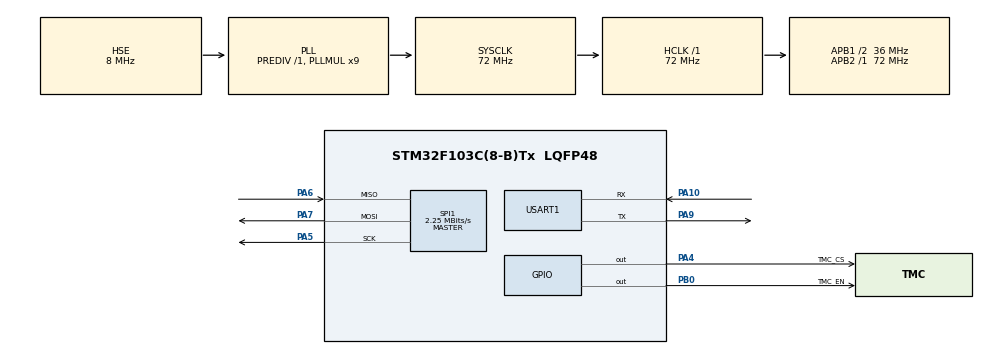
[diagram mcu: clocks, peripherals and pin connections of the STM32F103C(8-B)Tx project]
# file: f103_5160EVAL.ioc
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Mcu.Family=STM32F1
Mcu.Name=STM32F103C(8-B)Tx
Mcu.Package=LQFP48
NVIC.PriorityGroup=NVIC_PRIORITYGROUP_4
PA10.Mode=Asynchronous
PA10.Signal=USART1_RX
PA13.Mode=Serial_Wire
PA13.Signal=SYS_JTMS-SWDIO
PA14.Mode=Serial_Wire
PA14.Signal=SYS_JTCK-SWCLK
PA4.GPIO_Label=TMC_CS
PA4.Signal=GPIO_Output
PA5.Mode=Full_Duplex_Master
PA5.Signal=SPI1_SCK
PA6.Mode=Full_Duplex_Master
PA6.Signal=SPI1_MISO
PA7.Mode=Full_Duplex_Master
PA7.Signal=SPI1_MOSI
PA9.Mode=Asynchronous
PA9.Signal=USART1_TX
PB0.GPIO_Label=TMC_EN
PB0.Signal=GPIO_Output
PD0-OSC_IN.Mode=HSE-External-Oscillator
PD0-OSC_IN.Signal=RCC_OSC_IN
PD1-OSC_OUT.Mode=HSE-External-Oscillator
PD1-OSC_OUT.Signal=RCC_OSC_OUT
ProjectManager.HeapSize=0x200
ProjectManager.StackSize=0x400
ProjectManager.TargetToolchain=STM32CubeIDE
RCC.AHBFreq_Value=72000000
RCC.APB1CLKDivider=RCC_HCLK_DIV2
RCC.APB1Freq_Value=36000000
RCC.APB1TimFreq_Value=72000000
RCC.APB2Freq_Value=72000000
RCC.APB2TimFreq_Value=72000000
RCC.HCLKFreq_Value=72000000
RCC.PLLMUL=RCC_PLL_MUL9
RCC.PLLSourceVirtual=RCC_PLLSOURCE_HSE
RCC.SYSCLKFreq_VALUE=72000000
RCC.SYSCLKSource=RCC_SYSCLKSOURCE_PLLCLK
RCC.USBFreq_Value=72000000
SPI1.BaudRatePrescaler=SPI_BAUDRATEPRESCALER_32
SPI1.CLKPhase=SPI_PHASE_2EDGE
SPI1.CLKPolarity=SPI_POLARITY_HIGH
SPI1.CalculateBaudRate=2.25 MBits/s
SPI1.Direction=SPI_DIRECTION_2LINES
SPI1.Mode=SPI_MODE_MASTER
SPI1.VirtualType=VM_MASTER
USART1.VirtualMode=VM_ASYNC
board=custom

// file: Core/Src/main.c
/* USER CODE BEGIN Header */
/**
 ******************************************************************************
 * @file           : main.c
 * @brief          : Main program body (Updated for TMC5160 Velocity Mode)
 ******************************************************************************
 */
/* USER CODE END Header */
#include "main.h"

/* USER CODE BEGIN Includes */
#include <stdint.h>
#include <stdarg.h>
#include <stdio.h>
#include <string.h>
#include <math.h>
#include <stdlib.h>
/* USER CODE END Includes */

/* USER CODE BEGIN PD */

// ---- PIN DEFINES (Based on your wiring) ----
#define TMC_CS_Pin      GPIO_PIN_4
#define TMC_CS_Port     GPIOA

#define TMC_EN_Pin      GPIO_PIN_0
#define TMC_EN_Port     GPIOB

#define TMC5160_FCLK 12000000.0f // Internal Clock Frequency
/* USER CODE END PD */

/* USER CODE BEGIN PM */
#define TMC_CS_LOW()    HAL_GPIO_WritePin(TMC_CS_Port, TMC_CS_Pin, GPIO_PIN_RESET)
#define TMC_CS_HIGH()   HAL_GPIO_WritePin(TMC_CS_Port, TMC_CS_Pin, GPIO_PIN_SET)
/* USER CODE END PM */

SPI_HandleTypeDef hspi1;

UART_HandleTypeDef huart1;

void SystemClock_Config(void);
static void MX_GPIO_Init(void);
static void MX_SPI1_Init(void);
static void MX_USART1_UART_Init(void);
/* USER CODE BEGIN PFP */
void uart_printf(const char *fmt, ...);
void TMC5160_WriteReg(uint8_t address, uint32_t value);
uint32_t TMC5160_ReadReg(uint8_t address);

// เพิ่ม Prototypes ใหม่
void TMC5160_SetupMotion(void);
void TMC5160_Rotate(int32_t speed);
/* USER CODE END PFP */

/* USER CODE BEGIN 0 */
// ฟังก์ชันแปลง PPS -> VMAX Value
int32_t TMC5160_ConvertSpeed(float steps_per_sec) {
	// สูตร: (PPS * 2^24) / fCLK
	return (int32_t) ((steps_per_sec * 16777216.0f) / TMC5160_FCLK);
}

// อัปเดตฟังก์ชัน Rotate ให้รับค่า PPS ตรงๆ
void TMC5160_Rotate_PPS(float pps) {
	uint32_t vmax_val = (uint32_t) abs(TMC5160_ConvertSpeed(pps));

	if (pps >= 0) {
		TMC5160_WriteReg(0x20, 1); // RAMPMODE = Velocity Positive
	} else {
		TMC5160_WriteReg(0x20, 2); // RAMPMODE = Velocity Negative
	}

	TMC5160_WriteReg(0x27, vmax_val); // เขียนค่า VMAX ที่แปลงแล้ว
}

void TMC5160_PrintStatus(void) {
	// อ่าน GSTAT (0x01): ดูสถานะทั่วไป (Reset, Voltage, Driver Error)
	uint32_t gstat = TMC5160_ReadReg(0x01);

	// อ่าน DRV_STATUS (0x6F): ดูสถานะ Driver (Open Load, Short, Over Temp)
	uint32_t drv_status = TMC5160_ReadReg(0x6F);

	uart_printf("Status -> GSTAT: 0x%08X | DRV: 0x%08X\r\n", gstat, drv_status);

	if (gstat & 0x02)
		uart_printf("!! DRIVER ERROR DETECTED !!\r\n");
	if (gstat & 0x04)
		uart_printf("!! UNDER VOLTAGE !!\r\n");
	if (drv_status & 0x80000000)
		uart_printf("!! STANDSTILL !!\r\n");
}

// 1. ฟังก์ชันสั่งวิ่ง (High Speed, Normal Accel)
// speed: ความเร็วเป้าหมาย
// accel: อัตราเร่งตอนออกตัว (ใส่สัก 500-1000 ให้มีแรงออกตัว)
void TMC5160_Run(int32_t speed, uint32_t accel) {
	// ตั้งค่าอัตราเร่งสำหรับ "ขาไป"
	TMC5160_WriteReg(0x26, accel);

	// สั่งความเร็ว
	if (speed >= 0) {
		TMC5160_WriteReg(0x20, 1); // RAMPMODE +
		TMC5160_WriteReg(0x27, speed);
	} else {
		TMC5160_WriteReg(0x20, 2); // RAMPMODE -
		TMC5160_WriteReg(0x27, -speed);
	}
}

// 2. ฟังก์ชันสั่งหยุดนุ่ม (Soft Stop)
// decel: อัตราเบรก (ใส่ต่ำๆ เช่น 50 หรือ 100 เพื่อให้หยุดช้าๆ)
void TMC5160_SoftStop(uint32_t decel) {
	// *** ทีเด็ดอยู่ตรงนี้: เปลี่ยน AMAX ให้ต่ำก่อนสั่งหยุด ***
	TMC5160_WriteReg(0x26, decel);

	// สั่งหยุด (VMAX = 0)
	// Driver จะใช้ค่า AMAX ใหม่ (ที่ต่ำๆ) ในการคำนวณ Ramp ลง
	TMC5160_WriteReg(0x27, 0);
}
/* USER CODE END 0 */

int main(void)
{

  /* MCU Configuration--------------------------------------------------------*/

  /* Reset of all peripherals, Initializes the Flash interface and the Systick. */
  HAL_Init();

  /* Configure the system clock */
  SystemClock_Config();

  /* Initialize all configured peripherals */
  MX_GPIO_Init();
  MX_SPI1_Init();
  MX_USART1_UART_Init();
  /* USER CODE BEGIN 2 */

	// 1. Disable driver first (Safety)
	TMC_CS_HIGH();
	HAL_GPIO_WritePin(TMC_EN_Port, TMC_EN_Pin, GPIO_PIN_SET); // EN High = Disable
	HAL_Delay(100);

	uart_printf("\r\n--- TMC5160 SPI DEBUG START ---\r\n");

	// 2. Enable driver (EN = Low)
	HAL_GPIO_WritePin(TMC_EN_Port, TMC_EN_Pin, GPIO_PIN_RESET);
	HAL_Delay(50);

	// 3. Init GCONF (Global Config)
	// GCONF = 0x00000004 (EN_PWM_MODE = 1) -> แล้วแต่การใช้งาน ปกติใช้ 0 ก็ได้ถ้าไม่ได้ใช้ external step
	TMC5160_WriteReg(0x00, 0x00000000);
	HAL_Delay(10);

	// Readback Check
	uint32_t gconf = TMC5160_ReadReg(0x00);
	uart_printf("GCONF Readback = 0x%08lX\r\n", gconf);

	// 4. Setup Motion Parameters (Current, Chopper, Accel)
	TMC5160_SetupMotion();

	uart_printf("Ready to Run!\r\n");

  /* USER CODE END 2 */

  /* Infinite loop */
  /* USER CODE BEGIN WHILE */
	while (1) {
		// --- Step 1: วิ่งขวา (เร็ว!) ---
		if (TMC5160_ReadReg(0x00) != 0) { // เช็ค Reset (GCONF ต้องเป็น 0 ในโหมดนี้)
			// ถ้าอ่านได้ค่าไม่ใช่ 0 (หรือ Default 0x04 กลับมา) แปลว่า Reset
			// แต่เดี๋ยวก่อน... SetupMotion เราสั่งเขียน 0 ลงไป
			// ถ้า Reset มันจะเด้งกลับเป็นค่า Default โรงงาน
			// เอาเป็นว่าสั่ง Setup ทุกรอบเพื่อความชัวร์ดีกว่า
		}
		// "Hack" Setup ทุกรอบ กันเหนียวสุดๆ
		TMC5160_SetupMotion();

		uart_printf(">>> Turbo Right (Speed 50k)\r\n");
		// ลอง 50,000 ดูก่อน (เร็วกว่าตะกี้เยอะ)
		// Accel 2000 (ออกตัวไวขึ้น)
		TMC5160_Run(50000, 2000);

		HAL_Delay(4000);

		// --- Step 2: เบรก (นุ่มๆ) ---
		uart_printf("--- Soft Stop ---\r\n");
		TMC5160_SoftStop(1000);
		HAL_Delay(1000);

		// --- Step 3: วิ่งซ้าย (เร็ว!) ---
		TMC5160_SetupMotion(); // กันเหนียวอีกที

		uart_printf("<<< Turbo Left (Speed -50k)\r\n");
		TMC5160_Run(-50000, 2000);

		HAL_Delay(4000);

		// --- Step 4: เบรก ---
		uart_printf("--- Soft Stop ---\r\n");
		TMC5160_SoftStop(1000);
		HAL_Delay(1000);
    /* USER CODE END WHILE */

	}
}

void SystemClock_Config(void)
{
  RCC_OscInitTypeDef RCC_OscInitStruct = {0};
  RCC_ClkInitTypeDef RCC_ClkInitStruct = {0};

  /** Initializes the RCC Oscillators according to the specified parameters
  * in the RCC_OscInitTypeDef structure.
  */
  RCC_OscInitStruct.OscillatorType = RCC_OSCILLATORTYPE_HSE;
  RCC_OscInitStruct.HSEState = RCC_HSE_ON;
  RCC_OscInitStruct.HSEPredivValue = RCC_HSE_PREDIV_DIV1;
  RCC_OscInitStruct.HSIState = RCC_HSI_ON;
  RCC_OscInitStruct.PLL.PLLState = RCC_PLL_ON;
  RCC_OscInitStruct.PLL.PLLSource = RCC_PLLSOURCE_HSE;
  RCC_OscInitStruct.PLL.PLLMUL = RCC_PLL_MUL9;
  if (HAL_RCC_OscConfig(&RCC_OscInitStruct) != HAL_OK)
  {
    Error_Handler();
  }

  /** Initializes the CPU, AHB and APB buses clocks
  */
  RCC_ClkInitStruct.ClockType = RCC_CLOCKTYPE_HCLK|RCC_CLOCKTYPE_SYSCLK
                              |RCC_CLOCKTYPE_PCLK1|RCC_CLOCKTYPE_PCLK2;
  RCC_ClkInitStruct.SYSCLKSource = RCC_SYSCLKSOURCE_PLLCLK;
  RCC_ClkInitStruct.AHBCLKDivider = RCC_SYSCLK_DIV1;
  RCC_ClkInitStruct.APB1CLKDivider = RCC_HCLK_DIV2;
  RCC_ClkInitStruct.APB2CLKDivider = RCC_HCLK_DIV1;

  if (HAL_RCC_ClockConfig(&RCC_ClkInitStruct, FLASH_LATENCY_2) != HAL_OK)
  {
    Error_Handler();
  }
}

static void MX_SPI1_Init(void)
{

  /* SPI1 parameter configuration*/
  hspi1.Instance = SPI1;
  hspi1.Init.Mode = SPI_MODE_MASTER;
  hspi1.Init.Direction = SPI_DIRECTION_2LINES;
  hspi1.Init.DataSize = SPI_DATASIZE_8BIT;
  hspi1.Init.CLKPolarity = SPI_POLARITY_HIGH;
  hspi1.Init.CLKPhase = SPI_PHASE_2EDGE;
  hspi1.Init.NSS = SPI_NSS_SOFT;
  hspi1.Init.BaudRatePrescaler = SPI_BAUDRATEPRESCALER_32;
  hspi1.Init.FirstBit = SPI_FIRSTBIT_MSB;
  hspi1.Init.TIMode = SPI_TIMODE_DISABLE;
  hspi1.Init.CRCCalculation = SPI_CRCCALCULATION_DISABLE;
  hspi1.Init.CRCPolynomial = 10;
  if (HAL_SPI_Init(&hspi1) != HAL_OK)
  {
    Error_Handler();
  }

}

static void MX_USART1_UART_Init(void)
{

  huart1.Instance = USART1;
  huart1.Init.BaudRate = 115200;
  huart1.Init.WordLength = UART_WORDLENGTH_8B;
  huart1.Init.StopBits = UART_STOPBITS_1;
  huart1.Init.Parity = UART_PARITY_NONE;
  huart1.Init.Mode = UART_MODE_TX_RX;
  huart1.Init.HwFlowCtl = UART_HWCONTROL_NONE;
  huart1.Init.OverSampling = UART_OVERSAMPLING_16;
  if (HAL_UART_Init(&huart1) != HAL_OK)
  {
    Error_Handler();
  }

}

static void MX_GPIO_Init(void)
{
  GPIO_InitTypeDef GPIO_InitStruct = {0};

  /* GPIO Ports Clock Enable */
  __HAL_RCC_GPIOD_CLK_ENABLE();
  __HAL_RCC_GPIOA_CLK_ENABLE();
  __HAL_RCC_GPIOB_CLK_ENABLE();

  /*Configure GPIO pin Output Level */
  HAL_GPIO_WritePin(TMC_CS_GPIO_Port, TMC_CS_Pin, GPIO_PIN_RESET);

  /*Configure GPIO pin Output Level */
  HAL_GPIO_WritePin(TMC_EN_GPIO_Port, TMC_EN_Pin, GPIO_PIN_RESET);

  /*Configure GPIO pin : TMC_CS_Pin */
  GPIO_InitStruct.Pin = TMC_CS_Pin;
  GPIO_InitStruct.Mode = GPIO_MODE_OUTPUT_PP;
  GPIO_InitStruct.Pull = GPIO_NOPULL;
  GPIO_InitStruct.Speed = GPIO_SPEED_FREQ_LOW;
  HAL_GPIO_Init(TMC_CS_GPIO_Port, &GPIO_InitStruct);

  /*Configure GPIO pin : TMC_EN_Pin */
  GPIO_InitStruct.Pin = TMC_EN_Pin;
  GPIO_InitStruct.Mode = GPIO_MODE_OUTPUT_PP;
  GPIO_InitStruct.Pull = GPIO_NOPULL;
  GPIO_InitStruct.Speed = GPIO_SPEED_FREQ_LOW;
  HAL_GPIO_Init(TMC_EN_GPIO_Port, &GPIO_InitStruct);

}

/* USER CODE BEGIN 4 */

void uart_printf(const char *fmt, ...) {
	char buffer[128];
	va_list args;
	va_start(args, fmt);
	int len = vsnprintf(buffer, sizeof(buffer), fmt, args);
	va_end(args);

	if (len > 0) {
		if (len > (int) sizeof(buffer))
			len = sizeof(buffer);
		HAL_UART_Transmit(&huart1, (uint8_t*) buffer, len, HAL_MAX_DELAY);
	}
}

void TMC5160_WriteReg(uint8_t address, uint32_t value) {
	uint8_t tx[5];
	uint8_t rx[5];

	tx[0] = 0x80 | (address & 0x7F);  // Write bit = 1
	tx[1] = (value >> 24) & 0xFF;
	tx[2] = (value >> 16) & 0xFF;
	tx[3] = (value >> 8) & 0xFF;
	tx[4] = (value >> 0) & 0xFF;

	TMC_CS_LOW();
	HAL_SPI_TransmitReceive(&hspi1, tx, rx, 5, 100);
	TMC_CS_HIGH();
}

uint32_t TMC5160_ReadReg(uint8_t address) {
	uint8_t tx[5] = { 0 };
	uint8_t rx[5] = { 0 };
	uint32_t value = 0;

	// Frame 1: Send Read Command
	tx[0] = address & 0x7F; // Write bit = 0

	TMC_CS_LOW();
	HAL_SPI_TransmitReceive(&hspi1, tx, rx, 5, 100);
	TMC_CS_HIGH();

	// Frame 2: Dummy to get data out
	tx[0] = address & 0x7F;

	TMC_CS_LOW();
	HAL_SPI_TransmitReceive(&hspi1, tx, rx, 5, 100);
	TMC_CS_HIGH();

	value = (uint32_t) rx[1] << 24;
	value |= (uint32_t) rx[2] << 16;
	value |= (uint32_t) rx[3] << 8;
	value |= (uint32_t) rx[4];

	return value;
}

// ---- NEW FUNCTIONS ----

void TMC5160_SetupMotion(void) {
	// 1. CHOPCONF:
	// เปลี่ยน MRES เป็น 4 (16 Microsteps) -> นี่คือเกียร์สำหรับความเร็ว!
	// TOFF=3, HSTRT=4, HEND=1, TBL=2 (สูตร NEMA 34)
	TMC5160_WriteReg(0x6C, 0x14410153);

	// 2. IHOLD_IRUN: อัดกระแสเพิ่ม! (PSU 10A ไหวอยู่แล้ว)
	// IRUN = 20 (ประมาณ 2.5A) -> แรงบิดมาเต็ม
	// IHOLD = 5
	TMC5160_WriteReg(0x10, 0x00061405);

	// 3. AMAX:
	// พอใช้ 16 uStep ค่า AMAX ไม่ต้องเยอะมากก็พุ่งแล้ว
	// ตั้งไว้ 5000 (ออกตัวกระชับ)
	TMC5160_WriteReg(0x26, 5000);

	// 4. Clear GCONF (SpreadCycle Only)
	TMC5160_WriteReg(0x00, 0x00000000);

	// ... (VSTART/STOP ปิดเหมือนเดิม) ...
	TMC5160_WriteReg(0x23, 0);
	TMC5160_WriteReg(0x24, 0);
	TMC5160_WriteReg(0x34, 0x00000000);
	TMC5160_WriteReg(0x6D, 0x00000000);

	uart_printf("Setup: SPORT MODE (16 uSteps, High Current).\r\n");
}
void TMC5160_Rotate(int32_t speed) {
	// RAMPMODE (0x20): 1 = Pos Velocity, 2 = Neg Velocity
	// VMAX (0x27): Target Speed (Always Positive)

	if (speed >= 0) {
		TMC5160_WriteReg(0x20, 1);       // Direction +
		TMC5160_WriteReg(0x27, speed);   // Speed value
	} else {
		TMC5160_WriteReg(0x20, 2);       // Direction -
		// แปลง speed เป็นบวก เพราะ VMAX รับค่า Unsigned
		// (ใช้ -speed ก็ได้ เพราะ input เป็น int32_t ที่ติดลบอยู่แล้ว)
		TMC5160_WriteReg(0x27, -speed);
	}
}

/* USER CODE END 4 */

void Error_Handler(void)
{
	__disable_irq();
	while (1) {
	}
}
